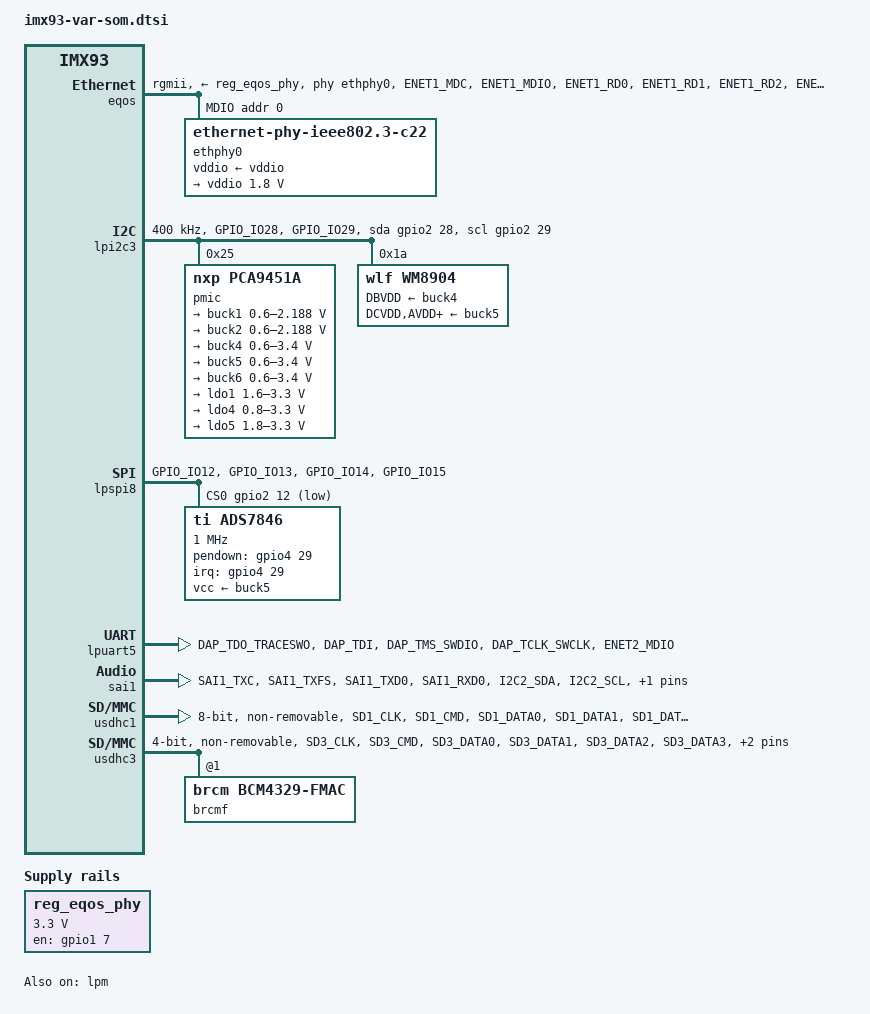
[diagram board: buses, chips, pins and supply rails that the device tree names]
// SPDX-License-Identifier: (GPL-2.0+ OR MIT)
/*
 * Copyright 2022 NXP
 * Copyright 2023 Variscite Ltd.
 */

/dts-v1/;

#include <dt-bindings/usb/pd.h>
#include "imx93.dtsi"

/ {
	compatible = "variscite,imx93-var-som", "fsl,imx93";

	reg_eqos_phy: regulator-eqos-phy {
		compatible = "regulator-fixed";
		pinctrl-names = "default";
		pinctrl-0 = <&pinctrl_reg_eqos_phy>;
		regulator-name = "eth_phy_pwr";
		regulator-min-microvolt = <3300000>;
		regulator-max-microvolt = <3300000>;
		gpio = <&gpio1 7 GPIO_ACTIVE_HIGH>;
		enable-active-high;
		startup-delay-us = <100000>;
		regulator-always-on;
	};

	sound-wm8904 {
		compatible = "simple-audio-card";
		simple-audio-card,bitclock-master = <&dailink_master>;
		simple-audio-card,format = "i2s";
		simple-audio-card,frame-master = <&dailink_master>;
		simple-audio-card,name = "wm8904-audio";
		simple-audio-card,routing =
			"Headphone Jack", "HPOUTL",
			"Headphone Jack", "HPOUTR",
			"IN2L", "Line In Jack",
			"IN2R", "Line In Jack",
			"IN1L", "Microphone Jack",
			"IN1R", "Microphone Jack";
		simple-audio-card,widgets =
			"Microphone", "Microphone Jack",
			"Headphone", "Headphone Jack",
			"Line", "Line In Jack";
		simple-audio-card,mclk-fs = <256>;

		dailink_master: simple-audio-card,codec {
			sound-dai = <&wm8904>;
		};

		simple-audio-card,cpu {
			sound-dai = <&sai1>;
		};
	};
};

&eqos {
	pinctrl-names = "default";
	pinctrl-0 = <&pinctrl_eqos>;
	phy-mode = "rgmii";
	phy-handle = <&ethphy0>;
	phy-supply = <&reg_eqos_phy>;
	status = "okay";

	mdio {
		compatible = "snps,dwmac-mdio";
		#address-cells = <1>;
		#size-cells = <0>;
		clock-frequency = <1000000>;

		ethphy0: ethernet-phy@0 {
			compatible = "ethernet-phy-ieee802.3-c22";
			reg = <0>;
			at803x,eee-disabled;
			eee-broken-1000t;
			vddio-supply = <&vddio>;

			vddio: vddio-regulator {
				regulator-min-microvolt = <1800000>;
				regulator-max-microvolt = <1800000>;
			};
		};
	};
};

&iomuxc {
	pinctrl_bt: btgrp {
		fsl,pins = <
			MX93_PAD_ENET2_MDIO__GPIO4_IO15				0x51e
		>;
	};

	pinctrl_eqos: eqosgrp {
		fsl,pins = <
			MX93_PAD_ENET1_MDC__ENET_QOS_MDC			0x57e
			MX93_PAD_ENET1_MDIO__ENET_QOS_MDIO			0x57e
			MX93_PAD_ENET1_RD0__ENET_QOS_RGMII_RD0			0x57e
			MX93_PAD_ENET1_RD1__ENET_QOS_RGMII_RD1			0x57e
			MX93_PAD_ENET1_RD2__ENET_QOS_RGMII_RD2			0x57e
			MX93_PAD_ENET1_RD3__ENET_QOS_RGMII_RD3			0x57e
			MX93_PAD_ENET1_RXC__CCM_ENET_QOS_CLOCK_GENERATE_RX_CLK	0x5fe
			MX93_PAD_ENET1_RX_CTL__ENET_QOS_RGMII_RX_CTL		0x57e
			MX93_PAD_ENET1_TD0__ENET_QOS_RGMII_TD0			0x57e
			MX93_PAD_ENET1_TD1__ENET_QOS_RGMII_TD1			0x57e
			MX93_PAD_ENET1_TD2__ENET_QOS_RGMII_TD2			0x57e
			MX93_PAD_ENET1_TD3__ENET_QOS_RGMII_TD3			0x57e
			MX93_PAD_ENET1_TXC__CCM_ENET_QOS_CLOCK_GENERATE_TX_CLK	0x5fe
			MX93_PAD_ENET1_TX_CTL__ENET_QOS_RGMII_TX_CTL		0x57e
		>;
	};

	pinctrl_lpi2c3: lpi2c3grp {
		fsl,pins = <
			MX93_PAD_GPIO_IO28__LPI2C3_SDA			0x40000b9e
			MX93_PAD_GPIO_IO29__LPI2C3_SCL			0x40000b9e
		>;
	};

	pinctrl_lpi2c3_gpio: lpi2c3grp-gpio {
		fsl,pins = <
			MX93_PAD_GPIO_IO28__GPIO2_IO28			0x40000b9e
			MX93_PAD_GPIO_IO29__GPIO2_IO29			0x40000b9e
		>;
	};

	pinctrl_lpspi8: lpspi8grp {
		fsl,pins = <
			MX93_PAD_GPIO_IO12__GPIO2_IO12			0x31e
			MX93_PAD_GPIO_IO13__LPSPI8_SIN			0x31e
			MX93_PAD_GPIO_IO14__LPSPI8_SOUT			0x31e
			MX93_PAD_GPIO_IO15__LPSPI8_SCK			0x31e
		>;
	};

	pinctrl_reg_eqos_phy: regeqosgrp {
		fsl,pins = <
			MX93_PAD_UART2_TXD__GPIO1_IO07			0x51e
		>;
	};

	pinctrl_wifi: wifigrp {
		fsl,pins = <
			MX93_PAD_ENET2_MDC__GPIO4_IO14			0x51e /* WIFI_REG_ON     */
			MX93_PAD_SD2_RESET_B__GPIO3_IO07		0x51e /* WIFI_PWR_EN     */
		>;
	};

	pinctrl_restouch: restouchgrp {
		fsl,pins = <
			MX93_PAD_CCM_CLKO4__GPIO4_IO29			0x31e
		>;
	};

	pinctrl_sai1: sai1grp {
		fsl,pins = <
			MX93_PAD_SAI1_TXC__SAI1_TX_BCLK			0x31e
			MX93_PAD_SAI1_TXFS__SAI1_TX_SYNC		0x31e
			MX93_PAD_SAI1_TXD0__SAI1_TX_DATA00		0x31e
			MX93_PAD_SAI1_RXD0__SAI1_RX_DATA00		0x31e
			MX93_PAD_I2C2_SDA__SAI1_RX_BCLK			0x31e
			MX93_PAD_I2C2_SCL__SAI1_RX_SYNC			0x31e
			MX93_PAD_UART2_RXD__SAI1_MCLK			0x31e
		>;
	};

	pinctrl_sai1_sleep: sai1grp-sleep {
		fsl,pins = <
			MX93_PAD_SAI1_TXC__GPIO1_IO12		0x31e
			MX93_PAD_SAI1_TXFS__GPIO1_IO11		0x31e
			MX93_PAD_SAI1_TXD0__GPIO1_IO13		0x31e
			MX93_PAD_SAI1_RXD0__GPIO1_IO14		0x31e
			MX93_PAD_UART2_RXD__GPIO1_IO06		0x31e
			MX93_PAD_I2C2_SDA__GPIO1_IO03		0x31e
			MX93_PAD_I2C2_SCL__GPIO1_IO02		0x31e
		>;
	};

	pinctrl_uart5: uart5grp {
		fsl,pins = <
			MX93_PAD_DAP_TDO_TRACESWO__LPUART5_TX	0x31e
			MX93_PAD_DAP_TDI__LPUART5_RX		0x31e
			MX93_PAD_DAP_TMS_SWDIO__LPUART5_RTS_B	0x31e
			MX93_PAD_DAP_TCLK_SWCLK__LPUART5_CTS_B	0x31e
		>;
	};

	pinctrl_usdhc1: usdhc1grp {
		fsl,pins = <
			MX93_PAD_SD1_CLK__USDHC1_CLK		0x15fe
			MX93_PAD_SD1_CMD__USDHC1_CMD		0x13fe
			MX93_PAD_SD1_DATA0__USDHC1_DATA0	0x13fe
			MX93_PAD_SD1_DATA1__USDHC1_DATA1	0x13fe
			MX93_PAD_SD1_DATA2__USDHC1_DATA2	0x13fe
			MX93_PAD_SD1_DATA3__USDHC1_DATA3	0x13fe
			MX93_PAD_SD1_DATA4__USDHC1_DATA4	0x13fe
			MX93_PAD_SD1_DATA5__USDHC1_DATA5	0x13fe
			MX93_PAD_SD1_DATA6__USDHC1_DATA6	0x13fe
			MX93_PAD_SD1_DATA7__USDHC1_DATA7	0x13fe
			MX93_PAD_SD1_STROBE__USDHC1_STROBE	0x15fe
		>;
	};

	pinctrl_usdhc3: usdhc3grp {
		fsl,pins = <
			MX93_PAD_SD3_CLK__USDHC3_CLK			0x1306
			MX93_PAD_SD3_CMD__USDHC3_CMD			0x1306
			MX93_PAD_SD3_DATA0__USDHC3_DATA0		0x1306
			MX93_PAD_SD3_DATA1__USDHC3_DATA1		0x1306
			MX93_PAD_SD3_DATA2__USDHC3_DATA2		0x1306
			MX93_PAD_SD3_DATA3__USDHC3_DATA3		0x1306
		>;
	};
};

&lpi2c3 {
	#address-cells = <1>;
	#size-cells = <0>;
	clock-frequency = <400000>;
	pinctrl-names = "default", "sleep", "gpio";
	pinctrl-0 = <&pinctrl_lpi2c3>;
	pinctrl-1 = <&pinctrl_lpi2c3_gpio>;
	pinctrl-2 = <&pinctrl_lpi2c3_gpio>;
	scl-gpios = <&gpio2 29 GPIO_ACTIVE_HIGH>;
	sda-gpios = <&gpio2 28 GPIO_ACTIVE_HIGH>;
	status = "okay";

	pmic@25 {
		compatible = "nxp,pca9451a";
		reg = <0x25>;

		regulators {
			buck1: BUCK1 {
				regulator-name = "BUCK1";
				regulator-min-microvolt = <600000>;
				regulator-max-microvolt = <2187500>;
				regulator-boot-on;
				regulator-always-on;
				regulator-ramp-delay = <3125>;
			};

			buck2: BUCK2 {
				regulator-name = "BUCK2";
				regulator-min-microvolt = <600000>;
				regulator-max-microvolt = <2187500>;
				regulator-boot-on;
				regulator-always-on;
				regulator-ramp-delay = <3125>;
			};

			buck4: BUCK4{
				regulator-name = "BUCK4";
				regulator-min-microvolt = <600000>;
				regulator-max-microvolt = <3400000>;
				regulator-boot-on;
				regulator-always-on;
			};

			buck5: BUCK5{
				regulator-name = "BUCK5";
				regulator-min-microvolt = <600000>;
				regulator-max-microvolt = <3400000>;
				regulator-boot-on;
				regulator-always-on;
			};

			buck6: BUCK6 {
				regulator-name = "BUCK6";
				regulator-min-microvolt = <600000>;
				regulator-max-microvolt = <3400000>;
				regulator-boot-on;
				regulator-always-on;
			};

			ldo1: LDO1 {
				regulator-name = "LDO1";
				regulator-min-microvolt = <1600000>;
				regulator-max-microvolt = <3300000>;
				regulator-boot-on;
				regulator-always-on;
			};

			ldo4: LDO4 {
				regulator-name = "LDO4";
				regulator-min-microvolt = <800000>;
				regulator-max-microvolt = <3300000>;
				regulator-boot-on;
				regulator-always-on;
			};

			ldo5: LDO5 {
				regulator-name = "LDO5";
				regulator-min-microvolt = <1800000>;
				regulator-max-microvolt = <3300000>;
				regulator-boot-on;
				regulator-always-on;
			};
		};
	};

	wm8904: audio-codec@1a {
		#sound-dai-cells = <0>;
		compatible = "wlf,wm8904";
		reg = <0x1a>;
		clocks = <&clk IMX93_CLK_SAI1_GATE>;
		clock-names = "mclk";
		DBVDD-supply = <&buck4>;
		DCVDD-supply = <&buck5>;
		AVDD-supply = <&buck5>;
		CPVDD-supply = <&buck5>;
		MICVDD-supply = <&buck5>;
		num-drc-cfgs = <5>;
		drc-cfg-names = "default", "peaklimiter", "tradition", "soft", "music";
		drc-cfg-regs =
				/* coded default: KNEE_IP = KNEE_OP = 0, HI_COMP = LO_COMP = 1  */
				<0x01af 0x3248 0x0000 0x0000>,
				/* coded default: KNEE_IP = -24, KNEE_OP = -6, HI_COMP = 1/4, LO_COMP = 1 */
				<0x04af 0x324b 0x0010 0x0408>,
				/* coded default: KNEE_IP = -42, KNEE_OP = -3, HI_COMP = 0, LO_COMP = 1 */
				<0x04af 0x324b 0x0028 0x0704>,
				/* coded default: KNEE_IP = -45, KNEE_OP = -9, HI_COMP = 1/8, LO_COMP = 1 */
				<0x04af 0x324b 0x0018 0x078c>,
				/* coded default: KNEE_IP = -30, KNEE_OP = -10.5, HI_COMP = 1/4, LO_COMP = 1 */
				<0x04af 0x324b 0x0010 0x050e>;
		gpio-cfg = <
			0x0018 /* GPIO1 => DMIC_CLK */
			0xffff /* GPIO2 => don't touch */
			0xffff /* GPIO3 => don't touch */
			0xffff /* GPIO4 => don't touch */
		>;
		status = "okay";
	};
};

&lpm {
	soc-supply = <&buck1>;
	status = "okay";
};

&lpspi8 {
	pinctrl-names = "default";
	pinctrl-0 = <&pinctrl_lpspi8>;
	cs-gpios = <&gpio2 12 GPIO_ACTIVE_LOW>;
	status = "okay";

	/* Resistive touch controller */
	ads7846@0 {
		reg = <0>;      /* CS0 */
		pinctrl-names = "default";
		pinctrl-0 = <&pinctrl_restouch>;
		compatible = "ti,ads7846";
		interrupt-parent = <&gpio4>;
		interrupts = <29 IRQ_TYPE_EDGE_FALLING>;
		spi-max-frequency = <1000000>;
		pendown-gpio = <&gpio4 29 0>;
		vcc-supply = <&buck5>;

		ti,x-min = /bits/ 16 <125>;
		ti,x-max = /bits/ 16 <4008>;
		ti,y-min = /bits/ 16 <282>;
		ti,y-max = /bits/ 16 <3864>;
		ti,x-plate-ohms = /bits/ 16 <180>;
		ti,pressure-max = /bits/ 16 <255>;
		ti,debounce-max = /bits/ 16 <10>;
		ti,debounce-tol = /bits/ 16 <3>;
		ti,debounce-rep = /bits/ 16 <1>;
		ti,settle-delay-usec = /bits/ 16 <150>;
		ti,keep-vref-on;
		wakeup-source;
	};
};

/* BT module */
&lpuart5 {
	pinctrl-names = "default";
	pinctrl-0 = <&pinctrl_uart5>, <&pinctrl_bt>;
	uart-has-rtscts;
	status = "okay";
};

&sai1 {
	#sound-dai-cells = <0>;
	pinctrl-names = "default", "sleep";
	pinctrl-0 = <&pinctrl_sai1>;
	pinctrl-1 = <&pinctrl_sai1_sleep>;
	assigned-clocks = <&clk IMX93_CLK_SAI1>;
	assigned-clock-parents = <&clk IMX93_CLK_AUDIO_PLL>;
	assigned-clock-rates = <12288000>;
	fsl,sai-mclk-direction-output;
	status = "okay";
};

/* eMMC */
&usdhc1 {
	pinctrl-names = "default", "state_100mhz", "state_200mhz";
	pinctrl-0 = <&pinctrl_usdhc1>;
	pinctrl-1 = <&pinctrl_usdhc1>;
	pinctrl-2 = <&pinctrl_usdhc1>;
	bus-width = <8>;
	non-removable;
	status = "okay";
};

/* WiFi */
&usdhc3 {
	#address-cells = <1>;
	#size-cells = <0>;
	pinctrl-names = "default", "state_100mhz", "state_200mhz";
	pinctrl-0 = <&pinctrl_usdhc3>, <&pinctrl_wifi>;
	pinctrl-1 = <&pinctrl_usdhc3>, <&pinctrl_wifi>;
	pinctrl-2 = <&pinctrl_usdhc3>, <&pinctrl_wifi>;
	bus-width = <4>;
	non-removable;
	wakeup-source;
	status = "okay";

	brcmf: bcrmf@1 {
		reg = <1>;
		compatible = "brcm,bcm4329-fmac";
	};
};
